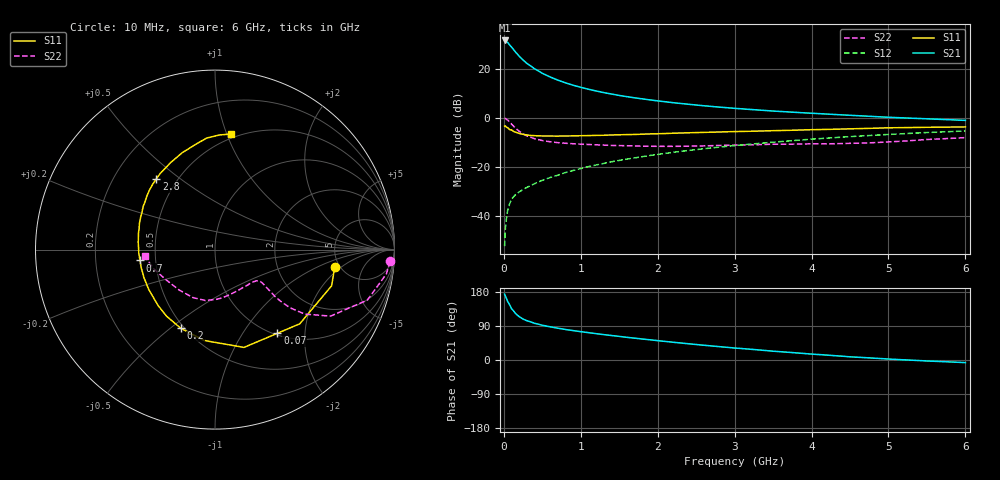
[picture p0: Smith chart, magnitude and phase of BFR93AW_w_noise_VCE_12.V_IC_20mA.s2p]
! Infineon Technologies  Discrete & RF Semiconductors
! BFR93AW
! VCE =  12. V,  IC =  20 mA
! Common Emitter S-Parameters:  Jan 2017
# GHz  S  MA  R  50
!  f  S11  S21  S12  S22
! GHz  MAG  ANG  MAG  ANG  MAG  ANG  MAG  ANG
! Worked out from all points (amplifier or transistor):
!   77 points, 10 MHz to 6 GHz, reference 50 ohm
!   highest |S21| = 31.5 dB at 10 MHz (marker M1)
!   |S21| within 3 dB of that: start of sweep to 108.2 MHz
!   unconditionally stable (mu >= 1): 679.3 MHz to 2.085 GHz
!   at 130 MHz: K = 0.42, MSG = 29.9 dB, |S12| = -32.1 dB
!   at 2.2 GHz: K = 0.99, MSG = 10.1 dB, |S12| = -14.1 dB
!   at 6 GHz: K = 0.85, MSG = 2.2 dB, |S12| = -5.4 dB
!   lowest NFmin = 1.52 dB at 450 MHz
!   S11 on the Smith chart (normalised r, x): 10 MHz: 4.51, -1.64; 70 MHz: 1.03, -1.45; 200 MHz: 0.48, -0.54; 700 MHz: 0.41, -0.06; 2.8 GHz: 0.39, +0.41; 6 GHz: 0.46, +1.03
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0.01  0.6739 -8.5  37.7 173.8  0.0024 76.2  0.9772 -3.8
0.02  0.6805 -17.2  37.42 168.9  0.0055 86.0  0.965 -8.0
0.05  0.6276 -41.2  34.29 154.2  0.0129 71.3  0.8946 -18.3
0.07  0.5816 -53.3  31.26 147.6  0.0165 67.1  0.8302 -22.4
0.1  0.5684 -73.5  27.68 135.4  0.0219 63.3  0.7435 -29.9
0.15  0.5098 -96.9  22.07 122.9  0.0268 57.9  0.6154 -35.7
0.2  0.4781 -113.5  17.95 114.4  0.0307 56.8  0.5284 -37.8
0.25  0.4587 -126.0  15.02 108.0  0.0344 56.1  0.4684 -38.2
0.3  0.4445 -135.5  12.82 103.6  0.038 57.7  0.4248 -38.0
0.4  0.431 -148.9  9.948 96.7  0.0452 60.6  0.3735 -36.8
0.5  0.4255 -158.6  8.068 91.7  0.0529 62.8  0.3423 -35.9
0.6  0.4231 -166.1  6.801 87.6  0.0601 64.5  0.3234 -35.2
0.7  0.422 -171.8  5.865 84.0  0.0672 66.0  0.3105 -35.1
0.9  0.426 178.5  4.603 77.6  0.0839 67.1  0.2949 -36.1
1.1  0.4324 170.8  3.815 72.2  0.1009 68.1  0.2847 -38.3
1.5  0.4485 158.7  2.851 62.3  0.1346 67.7  0.2702 -45.4
2.1  0.4765 144.0  2.117 49.0  0.1877 64.9  0.2608 -61.0
2.8  0.5119 129.7  1.648 35.2  0.2513 60.0  0.2721 -81.9
3.1  0.5257 124.0  1.516 30.1  0.2793 57.5  0.2779 -90.2
4.1  0.574 107.1  1.211 14.3  0.3742 48.0  0.2936 -118.2
5.1  0.6258 92.9  1.007 1.5  0.4646 37.2  0.3273 -151.9
6  0.65 82.3  0.883 -6.9  0.5371 27.0  0.3935 -175.1
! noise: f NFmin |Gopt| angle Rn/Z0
0.45  1.52  0.14  161  0.15
0.9  1.8  0.23  175  0.15
1.9  2.8  0.48  -138  0.23
2.4  3.43  0.54  -126  0.45
